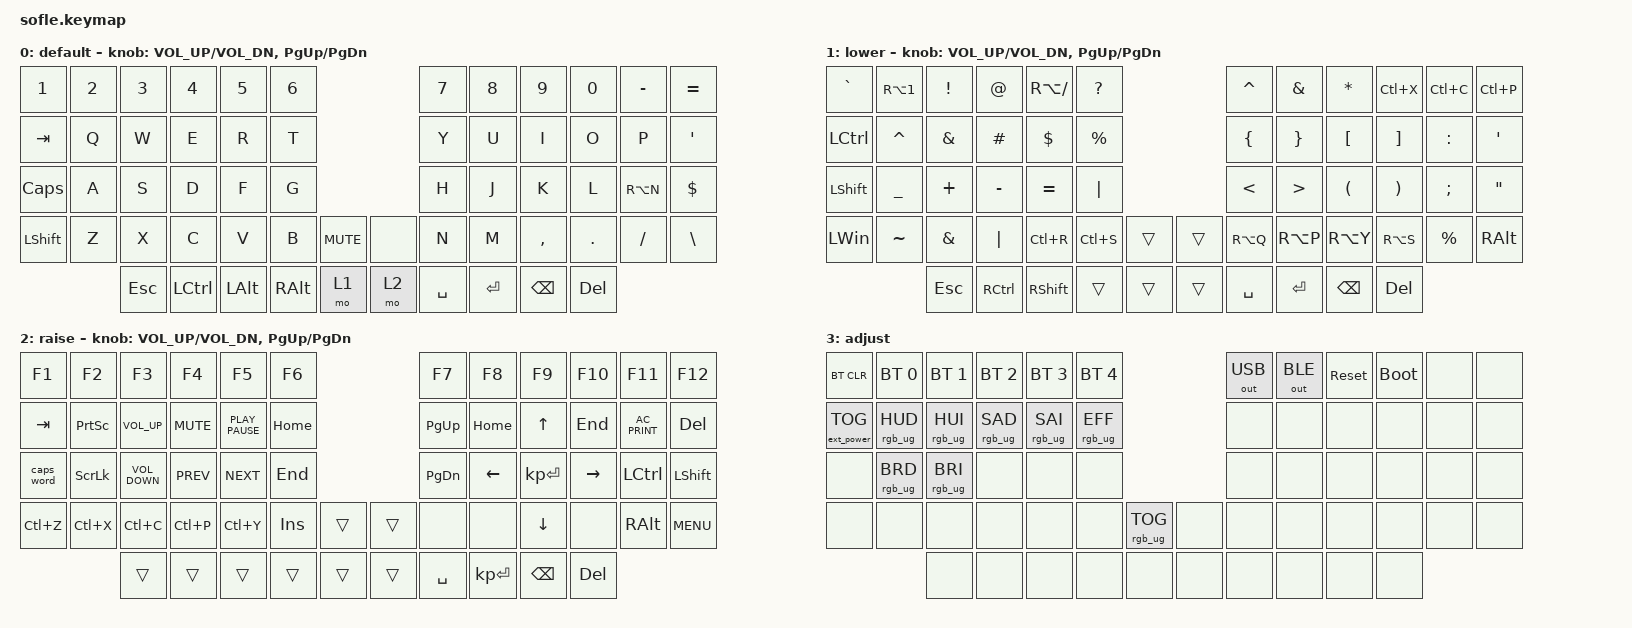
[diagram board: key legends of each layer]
/*
 * Copyright (c) 2020 The ZMK Contributors
 *
 * SPDX-License-Identifier: MIT
 */

#include <behaviors.dtsi>
#include <dt-bindings/zmk/bt.h>
#include <dt-bindings/zmk/ext_power.h>
#include <dt-bindings/zmk/keys.h>
#include <dt-bindings/zmk/outputs.h>
#include <dt-bindings/zmk/rgb.h>

#define BASE 0
#define LOWER 1
#define RAISE 2
#define ADJUST 3

/ {
    // Activate ADJUST layer by pressing raise and lower

    conditional_layers {
        compatible = "zmk,conditional-layers";

        adjust_layer {
            if-layers = <LOWER RAISE>;
            then-layer = <ADJUST>;
        };
    };

    combos {
        compatible = "zmk,combos";

        layerthree {
            bindings = <&mo 3>;
            key-positions = <54 55>;
        };
    };

    keymap {
        compatible = "zmk,keymap";

        default_layer {
            display-name = "default";

            // ------------------------------------------------------------------------------------------------------------
            // |   `   |  1  |  2  |  3   |  4   |  5   |                   |  6   |  7    |  8    |  9   |   0   |       |
            // |  ESC  |  Q  |  W  |  E   |  R   |  T   |                   |  Y   |  U    |  I    |  O   |   P   | BKSPC |
            // |  TAB  |  A  |  S  |  D   |  F   |  G   |                   |  H   |  J    |  K    |  L   |   ;   |   '   |
            // | SHIFT |  Z  |  X  |  C   |  V   |  B   |  MUTE  |  |       |  N   |  M    |  ,    |  .   |   /   | SHIFT |
            //               | GUI | ALT  | CTRL | LOWER|  ENTER |  | SPACE | RAISE| CTRL  | ALT   | GUI  |

            bindings = <
&kp N1     &kp N2  &kp N3      &kp N4     &kp N5        &kp NUMBER_6                       &kp N7     &kp N8     &kp N9         &kp N0   &kp MINUS  &kp EQUAL
&kp TAB    &kp Q   &kp W       &kp E      &kp R         &kp T                              &kp Y      &kp U      &kp I          &kp O    &kp P      &kp SINGLE_QUOTE
&kp CAPS   &kp A   &kp S       &kp D      &kp F         &kp G                              &kp H      &kp J      &kp K          &kp L    &kp RA(N)  &kp DOLLAR
&kp LSHFT  &kp Z   &kp X       &kp C      &kp V         &kp B         &kp C_MUTE    &none  &kp N      &kp M      &kp COMMA      &kp DOT  &kp FSLH   &kp BACKSLASH
                   &kp ESCAPE  &kp LCTRL  &kp LEFT_ALT  &kp RALT      &mo 1         &mo 2  &kp SPACE  &kp ENTER  &kp BACKSPACE  &kp DEL
            >;

            sensor-bindings = <&inc_dec_kp C_VOL_UP C_VOL_DN &inc_dec_kp PG_UP PG_DN>;
        };

        lower_layer {
            display-name = "lower";

            // TODO: Some binds are waiting for shifted keycode support.
            // ------------------------------------------------------------------------------------------------------------
            // |       |  F1 |  F2 |  F3  |  F4  |  F5  |                   |  F6  |  F7   |  F8   |  F9  |  F10  |  F11  |
            // |   `   |  1  |  2  |  3   |  4   |  5   |                   |  6   |  7    |  8    |  9   |   0   |  F12  |
            // |       |  !  |  @  |  #   |  $   |  %   |                   |  ^   |  &    |  *    |  (   |   )   |   |   |
            // |       |  =  |  -  |  +   |  {   |  }   |        |  |       |  [   |  ]    |  ;    |  :   |   \   |       |
            //               |     |      |      |      |        |  |       |      |       |       |      |

            bindings = <
&kp GRAVE  &kp RA(N1)  &kp EXCL       &kp AT     &kp RA(SLASH)    &kp QUESTION                    &kp CARET       &kp AMPERSAND     &kp ASTERISK          &kp LC(X)              &kp LC(C)    &kp LC(P)
&kp LCTRL  &kp CARET   &kp AMPS       &kp HASH   &kp DOLLAR       &kp PERCENT                     &kp LEFT_BRACE  &kp RIGHT_BRACE   &kp LEFT_BRACKET      &kp RIGHT_BRACKET      &kp COLON    &kp SINGLE_QUOTE
&kp LSHFT  &kp UNDER   &kp PLUS       &kp MINUS  &kp EQUAL        &kp PIPE                        &kp LESS_THAN   &kp GREATER_THAN  &kp LEFT_PARENTHESIS  &kp RIGHT_PARENTHESIS  &kp SEMI     &kp DOUBLE_QUOTES
&kp LWIN   &kp TILDE   &kp AMPERSAND  &kp PIPE   &kp LC(R)        &kp LC(S)     &trans    &trans  &kp RA(Q)       &kp RA(P)         &kp RA(Y)             &kp RA(S)              &kp PERCENT  &kp RIGHT_ALT
                       &kp ESCAPE     &kp RCTRL  &kp RIGHT_SHIFT  &trans        &trans    &trans  &kp SPACE       &kp ENTER         &kp BACKSPACE         &kp DEL
            >;

            sensor-bindings = <&inc_dec_kp C_VOL_UP C_VOL_DN &inc_dec_kp PG_UP PG_DN>;
        };

        raise_layer {
            display-name = "raise";

            // ------------------------------------------------------------------------------------------------------------
            // | BTCLR | BT1  | BT2  |  BT3  |  BT4  |  BT5 |                |      |      |       |      |       |       |
            // |       | INS  | PSCR | GUI   |       |      |                | PGUP |      |   ^   |      |       |       |
            // |       | ALT  | CTRL | SHIFT |       | CAPS |                | PGDN |   <- |   v   |  ->  |  DEL  | BKSPC |
            // |       | UNDO | CUT  | COPY  | PASTE |      |      |  |      |      |      |       |      |       |       |
            //                |      |       |       |      |      |  |      |      |      |       |      |

            bindings = <
&kp F1      &kp F2           &kp F3             &kp F4      &kp F5            &kp F6                      &kp F7     &kp F8        &kp F9          &kp F10     &kp F11         &kp F12
&kp TAB     &kp PRINTSCREEN  &kp K_VOLUME_UP    &kp K_MUTE  &kp K_PLAY_PAUSE  &kp HOME                    &kp PG_UP  &kp HOME      &kp UP          &kp END     &kp C_AC_PRINT  &kp DEL
&caps_word  &kp SCROLLLOCK   &kp K_VOLUME_DOWN  &kp K_PREV  &kp K_NEXT        &kp END                     &kp PG_DN  &kp LEFT      &kp KP_ENTER    &kp RIGHT   &kp LCTRL       &kp LEFT_SHIFT
&kp LC(Z)   &kp LC(X)        &kp LC(C)          &kp LC(P)   &kp LC(Y)         &kp INS   &trans    &trans  &none      &none         &kp DOWN_ARROW  &none       &kp RIGHT_ALT   &kp K_MENU
                             &trans             &trans      &trans            &trans    &trans    &trans  &kp SPACE  &kp KP_ENTER  &kp BACKSPACE   &kp DELETE
            >;

            sensor-bindings = <&inc_dec_kp C_VOL_UP C_VOL_DN &inc_dec_kp PG_UP PG_DN>;
        };

        adjust_layer {
            // ----------------------------------------------------------------------------------------------------------------------------
            // | BTCLR  |  BT1    |  BT2    |   BT3   |   BT4   |   BT5   |                  |      |      |       |      |       |       |
            // | EXTPWR | RGB_HUD | RGB_HUI | RGB_SAD | RGB_SAI | RGB_EFF |                  |      |      |       |      |       |       |
            // |        | RGB_BRD | RGB_BRI |         |         |         |                  |      |      |       |      |       |       |
            // |        |         |         |         |         |         | RGB_TOG | |      |      |      |       |      |       |       |
            //                    |         |         |         |         |         | |      |      |      |       |      |

            display-name = "adjust";
            bindings = <
&bt BT_CLR         &bt BT_SEL 0     &bt BT_SEL 1     &bt BT_SEL 2     &bt BT_SEL 3     &bt BT_SEL 4                               &out OUT_USB  &out OUT_BLE  &sys_reset  &bootloader  &none  &none
&ext_power EP_TOG  &rgb_ug RGB_HUD  &rgb_ug RGB_HUI  &rgb_ug RGB_SAD  &rgb_ug RGB_SAI  &rgb_ug RGB_EFF                            &none         &none         &none       &none        &none  &none
&none              &rgb_ug RGB_BRD  &rgb_ug RGB_BRI  &none            &none            &none                                      &none         &none         &none       &none        &none  &none
&none              &none            &none            &none            &none            &none            &rgb_ug RGB_TOG    &none  &none         &none         &none       &none        &none  &none
                                    &none            &none            &none            &none            &none              &none  &none         &none         &none       &none
            >;
        };
    };
};

Ok
